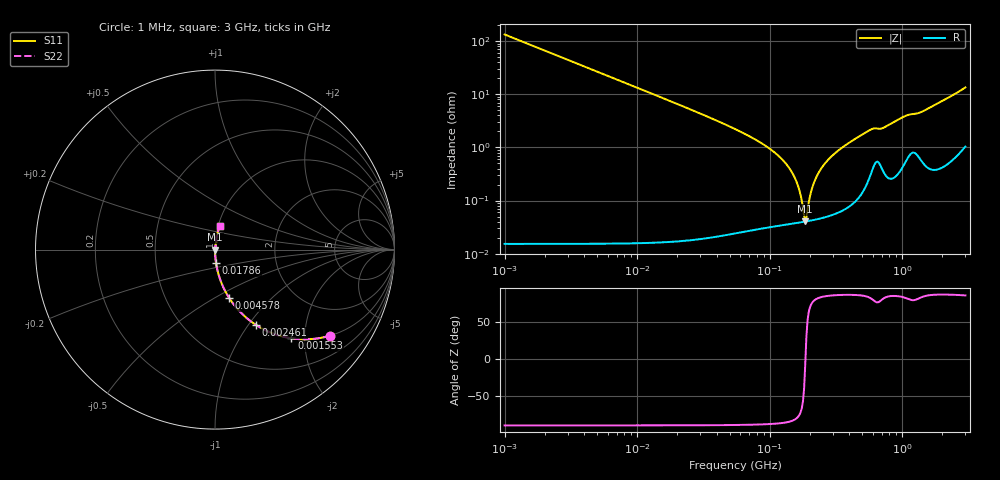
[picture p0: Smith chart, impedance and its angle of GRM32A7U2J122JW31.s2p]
!Murata Part Number: GRM32A7U2J122JW31
!These Parameters are Measured in Series Mode Connection
!Data Generated on Mar 30, 2021
!  o--ll--o
!Port1  Port2
!  o------o
!Operation Temp=25[degC], DC Bias Voltage=0[V]
!Freq. Start=1000[kHz] Stop=3[GHz] 401[Steps]
# Hz S RI R 50
!Freq.(Hz) S11(Real) S11(Imag) S21(Real) S21(Imag) S12(Real) S12(Imag) S22(Real) S22(Imag)
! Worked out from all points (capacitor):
!   401 points, 1 MHz to 3 GHz, reference 50 ohm
!   read as one part in series: C = 1.19 nF near 1.041 MHz
!   lowest |Z| = 40.4 mohm at 185.7 MHz (marker M1)
!   series resonance near 186.3 MHz, so ESL is about 610 pH
!   S11 on the Smith chart (normalised r, x): 1 MHz: 1.00, -2.68; 1.553 MHz: 1.00, -1.72; 2.461 MHz: 1.00, -1.09; 4.578 MHz: 1.00, -0.58; 17.86 MHz: 1.00, -0.15; 3 GHz: 1.02, +0.27
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1000000  0.6416 -0.4795  0.3584 0.4795  0.3584 0.4795  0.6416 -0.4795
1553251  0.4259 -0.4944  0.5741 0.4944  0.5741 0.4944  0.4259 -0.4944
2461366  0.2281 -0.4195  0.7719 0.4195  0.7719 0.4195  0.2281 -0.4195
3823119  0.1091 -0.3116  0.8909 0.3116  0.8909 0.3116  0.1091 -0.3116
4577760  0.0787 -0.2691  0.9213 0.2691  0.9213 0.2691  0.0787 -0.2691
1.461624e7  0.00836 -0.0902  0.9916 0.0902  0.9916 0.0902  0.00836 -0.0902
1.785516e7  0.00564 -0.0738  0.9944 0.0738  0.9944 0.0738  0.00564 -0.0738
5.477226e7  0.000734 -0.0222  0.9993 0.0222  0.9993 0.0222  0.000734 -0.0222
9.402997e7  0.000418 -0.0105  0.9996 0.0105  0.9996 0.0105  0.000418 -0.0105
1.321429e8  0.000376 -0.005  0.9996 0.005  0.9996 0.005  0.000376 -0.005
1.582265e8  0.000381 -0.00234  0.9996 0.00234  0.9996 0.00234  0.000381 -0.00234
1.680187e8  0.000387 -0.00148  0.9996 0.00148  0.9996 0.00148  0.000387 -0.00148
1.820241e8  0.000398 -0.000333  0.9996 0.000333  0.9996 0.000333  0.000398 -0.000333
1.857042e8  0.000402 -4.61e-05  0.9996 4.61e-05  0.9996 4.61e-05  0.000402 -4.61e-05
1.93289e8  0.000409 0.000527  0.9996 -0.000527  0.9996 -0.000527  0.000409 0.000527
2.094008e8  0.000428 0.00168  0.9996 -0.00168  0.9996 -0.00168  0.000428 0.00168
2.457655e8  0.000481 0.00403  0.9995 -0.00403  0.9995 -0.00403  0.000481 0.00403
3.188066e8  0.000638 0.00815  0.9994 -0.00815  0.9994 -0.00815  0.000638 0.00815
5.696638e8  0.00321 0.0209  0.9968 -0.0209  0.9968 -0.0209  0.00321 0.0209
8.005644e8  0.00331 0.0268  0.9967 -0.0268  0.9967 -0.0268  0.00331 0.0268
1.430499e9  0.00735 0.047  0.9927 -0.047  0.9927 -0.047  0.00735 0.047
3e9  0.0275 0.1295  0.9725 -0.1295  0.9725 -0.1295  0.0275 0.1295
